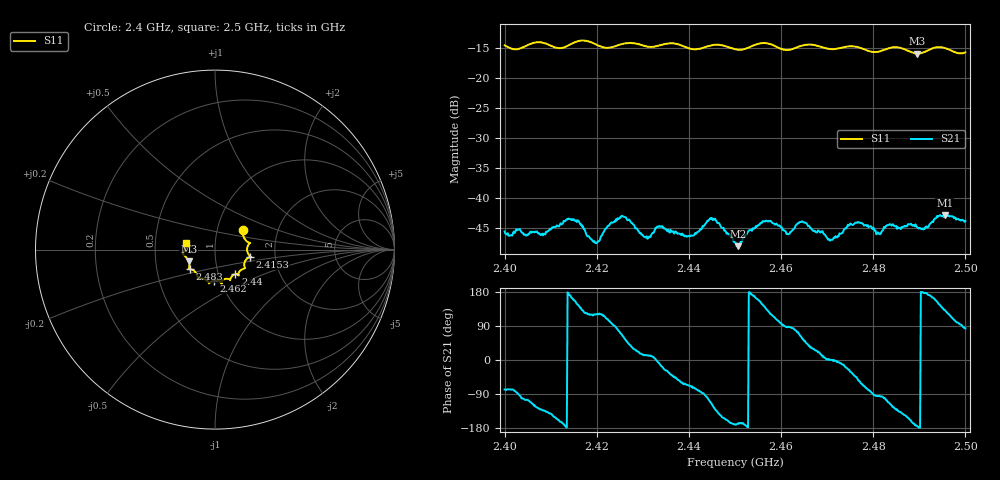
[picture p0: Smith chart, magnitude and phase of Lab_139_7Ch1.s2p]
# Hz S RI R
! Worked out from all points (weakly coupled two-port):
!   601 points, 2.4 GHz to 2.5 GHz, reference 50 ohm
!   highest |S21| = -42.83 dB at 2.4955 GHz (marker M1); lowest = -48.0 dB at 2.4507 GHz (marker M2)
!   lowest |S11| = -15.9 dB at 2.4895 GHz (marker M3), VSWR 1.38, Z = 36.9 - j5.01 ohm
!   |S11| at or under -10 dB: start of sweep to end of sweep
!   S12 and S22 are empty: the file has one direction only
!   S11 on the Smith chart (normalised r, x): 2.4 GHz: 1.33, +0.29; 2.4153 GHz: 1.48, -0.12; 2.44 GHz: 1.20, -0.34; 2.462 GHz: 0.93, -0.33; 2.483 GHz: 0.74, -0.17; 2.5 GHz: 0.72, +0.06
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2.4e9  0.1551 0.1065  0.00112 -0.00514  0 0  0 0
2.415333e9  0.1966 -0.0385  -0.00583 0.00273  0 0  0 0
2.416667e9  0.2022 -0.0427  -0.00419 0.00433  0 0  0 0
2.419667e9  0.1876 -0.0444  -0.00209 0.00366  0 0  0 0
2.4255e9  0.1659 -0.0987  0.00296 0.00646  0 0  0 0
2.430667e9  0.1461 -0.1132  0.00458 0.00101  0 0  0 0
2.433333e9  0.131 -0.1335  0.0057 -0.000627  0 0  0 0
2.44e9  0.1139 -0.1364  0.00184 -0.00447  0 0  0 0
2.445167e9  0.0848 -0.1694  -0.00334 -0.00563  0 0  0 0
2.45e9  0.0647 -0.1624  -0.00417 -0.000751  0 0  0 0
2.450667e9  0.0572 -0.1632  -0.00387 -0.000878  0 0  0 0
2.4565e9  0.039 -0.193  -0.00482 0.00416  0 0  0 0
2.462e9  -0.00517 -0.1733  0.00028 0.00519  0 0  0 0
2.464333e9  -0.0293 -0.184  0.00296 0.00556  0 0  0 0
2.466667e9  -0.0342 -0.1876  0.00468 0.00283  0 0  0 0
2.470667e9  -0.0549 -0.1665  0.00441 3.33e-05  0 0  0 0
2.4765e9  -0.0951 -0.1559  0.00415 -0.0046  0 0  0 0
2.483e9  -0.1375 -0.1096  -0.0017 -0.00566  0 0  0 0
2.483333e9  -0.14 -0.1095  -0.00224 -0.00551  0 0  0 0
2.4895e9  -0.1464 -0.0661  -0.00571 -0.000605  0 0  0 0
2.4955e9  -0.1782 -0.0174  -0.00488 0.00532  0 0  0 0
2.5e9  -0.1596 0.0392  0.000728 0.00639  0 0  0 0
